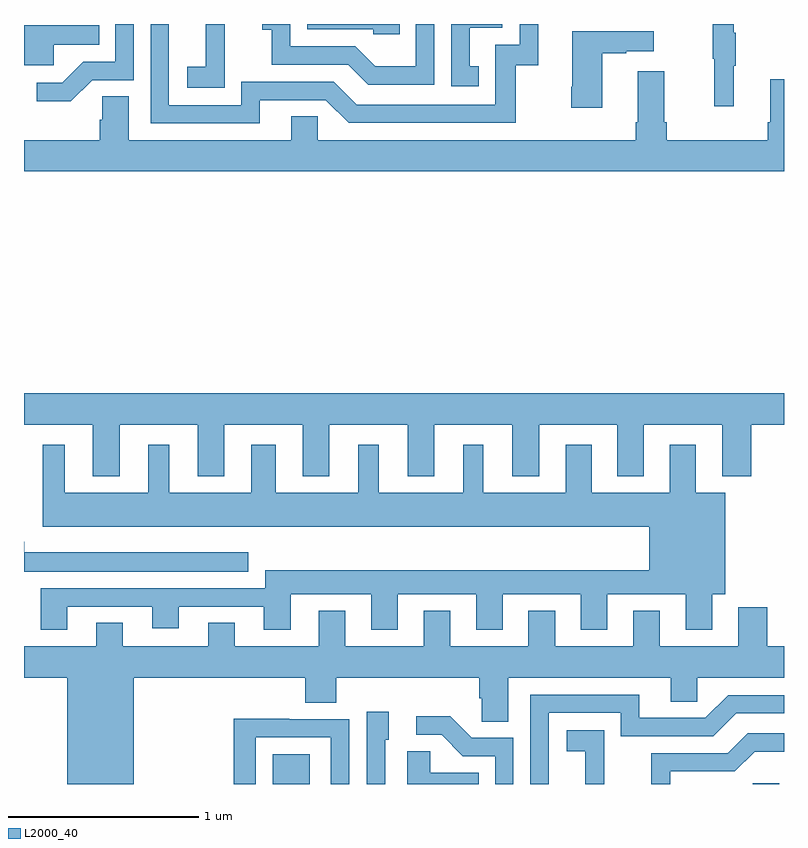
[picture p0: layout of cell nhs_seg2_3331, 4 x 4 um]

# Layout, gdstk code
import gdstk
lib = gdstk.Library(unit=1e-6, precision=1e-09)
def R(c, l, rs):  # rectangles x0, y0, x1, y1
    for r in rs: c.add(gdstk.rectangle(r[:2], r[2:], *l))
def P(c, l, *ps):  # polygons
    for p in ps: c.add(gdstk.Polygon(p, *l))
L2000_40 = (2000, 40)

nhs_seg2_3331 = lib.new_cell('nhs_seg2_3331')
R(nhs_seg2_3331, L2000_40, [(288.308,589.8,288.505,589.957), (290.835,589.8,290.975,589.803)])
P(nhs_seg2_3331, L2000_40, [(290.735,593.579),(290.746,593.579),(290.746,593.753),(290.735,593.753),(290.735,593.8),(290.625,593.8),(290.625,593.616),(290.632,593.616),(290.632,593.367),(290.735,593.367)],
  [(287.358,593.505),(287.577,593.505),(287.577,593.8),(287.481,593.8),(287.481,593.601),(287.312,593.601),(287.201,593.49),(287.067,593.49),(287.067,593.393),(287.245,593.393)],
  [(289.394,593.577),(289.345,593.577),(289.345,593.781),(289.518,593.781),(289.518,593.8),(289.248,593.8),(289.248,593.472),(289.394,593.472)],
  [(288.241,593.4),(288.588,593.4),(288.708,593.28),(289.588,593.28),(289.588,593.583),(289.706,593.583),(289.706,593.8),(289.608,593.8),(289.608,593.691),(289.479,593.691),(289.479,593.376),(288.75,593.376),(288.63,593.496),(288.144,593.496),(288.144,593.373),(287.763,593.373),(287.763,593.8),(287.667,593.8),(287.667,593.277),(288.241,593.277)],
  [(289.158,593.8),(289.062,593.8),(289.062,593.578),(288.848,593.578),(288.744,593.682),(288.402,593.682),(288.402,593.8),(288.255,593.8),(288.255,593.771),(288.304,593.771),(288.304,593.586),(288.707,593.586),(288.812,593.481),(289.158,593.481)],
  [(288.977,593.8),(288.492,593.8),(288.492,593.772),(288.837,593.772),(288.837,593.745),(288.977,593.745)],
  [(288.057,593.671),(288.056,593.671),(288.056,593.8),(287.957,593.8),(287.957,593.575),(287.859,593.575),(287.859,593.465),(288.057,593.465)],
  [(287.157,593.69),(287.396,593.69),(287.396,593.794),(287,593.794),(287,593.582),(287.157,593.582)],
  [(290.044,593.647),(290.171,593.647),(290.171,593.657),(290.314,593.657),(290.314,593.761),(289.886,593.761),(289.886,593.47),(289.879,593.47),(289.879,593.358),(290.044,593.358)],
  [(291,593.509),(290.927,593.509),(290.927,593.284),(290.915,593.284),(290.915,593.188),(290.384,593.188),(290.384,593.284),(290.371,593.284),(290.371,593.551),(290.231,593.551),(290.231,593.284),(290.219,593.284),(290.219,593.188),(288.546,593.188),(288.546,593.315),(288.407,593.315),(288.407,593.188),(287.551,593.188),(287.551,593.42),(287.412,593.42),(287.412,593.297),(287.399,593.297),(287.399,593.188),(287,593.188),(287,593.024),(291,593.024)],
  [(287.503,591.692),(287.915,591.692),(287.915,591.419),(288.055,591.419),(288.055,591.692),(288.467,591.692),(288.467,591.419),(288.607,591.419),(288.607,591.692),(289.019,591.692),(289.019,591.419),(289.159,591.419),(289.159,591.692),(289.571,591.692),(289.571,591.419),(289.711,591.419),(289.711,591.692),(290.123,591.692),(290.123,591.419),(290.263,591.419),(290.263,591.692),(290.675,591.692),(290.675,591.419),(290.828,591.419),(290.828,591.692),(291,591.692),(291,591.856),(287,591.856),(287,591.692),(287.363,591.692),(287.363,591.419),(287.503,591.419)],
  [(287.227,590.733),(287.675,590.733),(287.675,590.621),(287.815,590.621),(287.815,590.733),(288.263,590.733),(288.263,590.613),(288.403,590.613),(288.403,590.798),(288.827,590.798),(288.827,590.613),(288.967,590.613),(288.967,590.798),(289.379,590.798),(289.379,590.613),(289.519,590.613),(289.519,590.798),(289.931,590.798),(289.931,590.613),(290.071,590.613),(290.071,590.798),(290.483,590.798),(290.483,590.613),(290.623,590.613),(290.623,590.798),(290.692,590.798),(290.692,591.334),(290.536,591.334),(290.536,591.586),(290.399,591.586),(290.399,591.334),(289.987,591.334),(289.987,591.586),(289.85,591.586),(289.85,591.334),(289.417,591.334),(289.417,591.586),(289.313,591.586),(289.313,591.334),(288.868,591.334),(288.868,591.586),(288.758,591.586),(288.758,591.334),(288.325,591.334),(288.325,591.586),(288.197,591.586),(288.197,591.334),(287.764,591.334),(287.764,591.586),(287.654,591.586),(287.654,591.334),(287.215,591.334),(287.215,591.586),(287.099,591.586),(287.099,591.155),(290.291,591.155),(290.291,590.926),(288.269,590.926),(288.269,590.829),(287.087,590.829),(287.087,590.613),(287.227,590.613)],
  [(288.181,591.019),(287.002,591.019),(287.002,591.076),(287,591.076),(287,590.918),(288.181,590.918)],
  [(288.109,590.648),(287.969,590.648),(287.969,590.524),(287.521,590.524),(287.521,590.648),(287.381,590.648),(287.381,590.524),(287,590.524),(287,590.36),(287.228,590.36),(287.228,589.8),(287.578,589.8),(287.578,590.36),(288.479,590.36),(288.479,590.227),(288.644,590.227),(288.644,590.36),(289.397,590.36),(289.397,590.251),(289.41,590.251),(289.41,590.128),(289.549,590.128),(289.549,590.36),(290.405,590.36),(290.405,590.233),(290.544,590.233),(290.544,590.36),(291,590.36),(291,590.524),(290.912,590.524),(290.912,590.731),(290.759,590.731),(290.759,590.524),(290.347,590.524),(290.347,590.713),(290.207,590.713),(290.207,590.524),(289.795,590.524),(289.795,590.713),(289.655,590.713),(289.655,590.524),(289.243,590.524),(289.243,590.713),(289.103,590.713),(289.103,590.524),(288.691,590.524),(288.691,590.713),(288.551,590.713),(288.551,590.524),(288.109,590.524)],
  [(289.761,590.175),(290.142,590.175),(290.142,590.052),(290.628,590.052),(290.748,590.172),(291,590.172),(291,590.268),(290.706,590.268),(290.586,590.148),(290.239,590.148),(290.239,590.271),(289.665,590.271),(289.665,589.8),(289.761,589.8)],
  [(288.9,590.034),(288.919,590.034),(288.919,590.179),(288.804,590.179),(288.804,589.8),(288.9,589.8)],
  [(289.575,590.043),(289.356,590.043),(289.243,590.156),(289.065,590.156),(289.065,590.058),(289.199,590.058),(289.31,589.947),(289.479,589.947),(289.479,589.8),(289.575,589.8)],
  [(288.219,590.046),(288.615,590.046),(288.615,589.8),(288.711,589.8),(288.711,590.142),(288.395,590.142),(288.395,590.144),(288.103,590.144),(288.103,589.8),(288.219,589.8)],
  [(290.054,589.877),(290.055,589.877),(290.055,590.083),(289.857,590.083),(289.857,589.973),(289.955,589.973),(289.955,589.8),(290.054,589.8)],
  [(290.4,589.866),(290.742,589.866),(290.846,589.97),(291,589.97),(291,590.067),(290.81,590.067),(290.705,589.962),(290.302,589.962),(290.302,589.8),(290.4,589.8)],
  [(289.394,589.858),(289.137,589.858),(289.137,589.973),(289.016,589.973),(289.016,589.8),(289.394,589.8)])

lib.write_gds('nhs_seg2_3331.gds')
